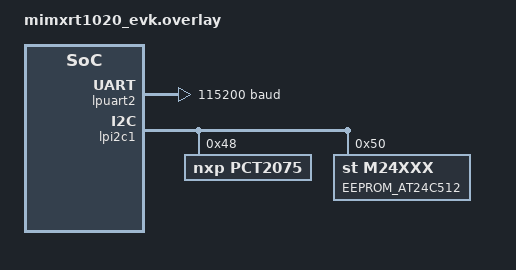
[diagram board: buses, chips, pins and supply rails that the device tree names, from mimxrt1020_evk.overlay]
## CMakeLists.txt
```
cmake_minimum_required(VERSION 3.13.1)

list(APPEND ZEPHYR_EXTRA_MODULES
  ${CMAKE_CURRENT_SOURCE_DIR}/pct2075
)

set(BOARD mimxrt1020_evk)

include_directories(
    lib/civetweb_libc_extensions/include
)

find_package(Zephyr)

project(DUTCHess)

target_sources(app PRIVATE src/main.c
                           src/led.c
                           src/relay.c
                           src/gpio.c
                           src/web.c
                           src/shell.c
                           src/fs.c
                           src/net.c
                           src/settings.c
                           src/terminal_server.c
                           src/temperature.c
                           src/tftp.c
                           src/tftp_eeprom.c
                           lib/civetweb_libc_extensions/src/libc_extensions.c)
```

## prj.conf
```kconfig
CONFIG_GPIO=y
CONFIG_CIVETWEB=y
CONFIG_JSON_LIBRARY=y
CONFIG_POSIX_API=y
CONFIG_PTHREAD_IPC=y
CONFIG_POSIX_MQUEUE=y
CONFIG_NETWORKING=y
CONFIG_NET_IPV4=y
CONFIG_NET_TCP=y
CONFIG_NET_SOCKETS=y
CONFIG_MINIMAL_LIBC_MALLOC_ARENA_SIZE=16384
CONFIG_NET_TX_STACK_SIZE=2048
CONFIG_NET_RX_STACK_SIZE=2048
CONFIG_ISR_STACK_SIZE=2048
CONFIG_MAIN_STACK_SIZE=2048
CONFIG_IDLE_STACK_SIZE=1024
CONFIG_DNS_RESOLVER=y
CONFIG_NET_LOG=y
CONFIG_NET_TCP_ISN_RFC6528=n
CONFIG_SHELL=y
CONFIG_SHELL_BACKEND_TELNET=y
CONFIG_FILE_SYSTEM_SHELL=y
CONFIG_NET_SHELL=y
CONFIG_DISK_ACCESS=y
CONFIG_FILE_SYSTEM=y
CONFIG_FAT_FILESYSTEM_ELM=y
CONFIG_LOG=y
CONFIG_SETTINGS=y
CONFIG_SETTINGS_FS=y
CONFIG_SETTINGS_FS_DIR="/SD:/settings"
CONFIG_SETTINGS_FS_FILE="/SD:/settings/config"
CONFIG_NET_SOCKETS_POLL_MAX=20
CONFIG_NET_MAX_CONN=100
CONFIG_NET_MAX_CONTEXTS=10
CONFIG_SERIAL=y
CONFIG_UART_INTERRUPT_DRIVEN=y
CONFIG_PCT2075_DRIVER=y
CONFIG_SENSOR=y
CONFIG_I2C=y
CONFIG_NET_UDP=y
CONFIG_NET_SOCKETS_POSIX_NAMES=y
CONFIG_POSIX_MAX_FDS=20
CONFIG_NET_CONNECTION_MANAGER=y
CONFIG_NET_PKT_RX_COUNT=16
CONFIG_NET_PKT_TX_COUNT=16
CONFIG_NET_BUF_RX_COUNT=64
CONFIG_NET_BUF_TX_COUNT=64
CONFIG_NET_CONTEXT_NET_PKT_POOL=y
CONFIG_EEPROM=y
CONFIG_EEPROM_AT24=y
```

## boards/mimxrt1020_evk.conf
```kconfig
CONFIG_PCT2075_DRIVER=y
CONFIG_SENSOR=y
CONFIG_I2C=y
```

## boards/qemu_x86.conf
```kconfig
# Add qemu-specific stuff here
CONFIG_FPU=y
```

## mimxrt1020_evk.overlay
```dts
/ {
    aliases {
        eeprom-0 = &eeprom0;
    };
};

&lpuart2 {
     status = "okay";
     current-speed = <115200>;
};

&lpi2c1 {
    pct2075@48 {
        compatible = "nxp,pct2075";
        reg = <0x48>;
        label = "PCT2075";
        status = "okay";
    };
    eeprom0: eeprom@50 {
        compatible = "st,m24xxx", "atmel,at24";
        reg = <0x50>;
        label = "EEPROM_AT24C512";
        size = <DT_SIZE_K(64)>;
        pagesize = <64>;
        address-width = <16>;
        timeout = <5>;
    };
};
```

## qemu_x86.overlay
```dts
/ {
    soc {
       uart2: uart@e38 {
            compatible = "ns16550";
            reg = < 0x3e8 0x100 >;
            label =                "UART_2";
            clock-frequency = < 0x1c2000 >;
            interrupts = < 0x5 IRQ_TYPE_LOWEST_EDGE_RISING 0x3 >;
            interrupt-parent = < &intc >;
            status = "okay";
            current-speed = < 0x1c200 >;
        };

       uart3: uart@2e8 {
            compatible = "ns16550";
            reg = < 0x2e8 0x100 >;
            label =                "UART_3";
            clock-frequency = < 0x1c2000 >;
            interrupts = < 0x6 IRQ_TYPE_LOWEST_EDGE_RISING 0x3 >;
            interrupt-parent = < &intc >;
            status = "okay";
            current-speed = < 0x1c200 >;
        };

    };
  };
```

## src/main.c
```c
#include "gpio.h"
#include "fs.h"
#include "led.h"
#include "net.h"
#include "relay.h"
#include "settings.h"
#include "temperature.h"
#include "terminal_server.h"
#include "tftp.h"
#include "tftp_eeprom.h"
#include "web.h"

static struct dutchess_terminal_server_cfg dut_serial_cfg[] = {
    {
        .cfg = {
            .baudrate = 115200,
            .parity = UART_CFG_PARITY_NONE,
            .stop_bits = 1,
            .data_bits = 8,
            .flow_ctrl = UART_CFG_FLOW_CTRL_NONE
        },
       .tcp_port = 21500
    },
    {
        .cfg = {
            .baudrate = 57600,
            .parity = UART_CFG_PARITY_NONE,
            .stop_bits = 1,
            .data_bits = 8,
            .flow_ctrl = UART_CFG_FLOW_CTRL_NONE
        },
        .tcp_port = 25700
    },
};

void main (void)
{
    dutchess_gpio_init();
    dutchess_fs_init();
    dutchess_led_init();
    dutchess_net_init();
    dutchess_relay_init();
    dutchess_temperature_init();
    dutchess_terminal_server_init();
    dut_start_tftpServer();
    dut_tftp_eeprom();
    dutchess_web_server_init();

    // Initialise the settings last as this will read the settings and call the
    // relevant modules.
    dutchess_settings_init();

    for (int i = 0; i < 2; i++)
    {
        dutchess_terminal_server_add(&dut_serial_cfg[i]);
    }

    while (1)
    {
        int32_t durations_ms[] = {500, 500, 500, 1000, 1000, 1000, 500, 500, 500};
        dutchess_led_blink(durations_ms, 9);
    }
}
```

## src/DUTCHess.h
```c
#ifndef DUTCHESS_H
#define DUTCHESS_H

#include <logging/log.h>

#define DUT_VERSION "1.0"

#define printIP(a) a&0xff, (a>>8)&0xff, (a>>16)&0xff, (a>>24)

#define IP(a,b,c,d) ( (d<<24) | (c<<16) | (b<<8) | a )

bool relaystate(void);
void relayon(void);
void relayoff(void);
double getTemperature(void);

typedef struct
{
	unsigned long ip;
	unsigned long gateway;
	unsigned long netmask;
	bool defaultRelayState;
	unsigned long controllerIP;
	unsigned int controllerPort;
} storeData_t;

storeData_t *getStoreData(void);
void updateStore(char *var, char *value, int valueLen);
void saveStore(void);

#define SAY(fmt, args...) printk("%s:%d: " fmt "\n", __FILE__, __LINE__, ##args)
#define _SAY(fmt, args...) 

void dut_tftp_eeprom(void);
#endif
```

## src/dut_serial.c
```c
/* -*- mode:c; indent-tabs-mode:nil; tab-width:4; c-basic-offset:4 -*- */
/*     vi: set ts=4 sw=4 expandtab:                                    */

/*@COPYRIGHT@*/

#include "DUTCHess.h"
#include "dut_serial.h"
#include <device.h>
#include <init.h>
#include <fcntl.h>
#include <net/socket.h>
#include <poll.h>

#ifndef CONFIG_UART_INTERRUPT_DRIVEN
#error "We must has interrupts"
#endif

#define TELNET_IAC   255
#define TELNET_WILL  251
#define TELNET_WONT  252
#define TELNET_DO    253
#define TELNET_DONT  254

#define DUT_CK(rt,...) do {                                     \
        int _err;                                               \
        if ((_err = dut_log_error(__FILE__, __LINE__, (rt)))) { \
            __VA_ARGS__;                                        \
        }                                                       \
    }                                                           \
    while (0)

#define DUT_NOK(er) dut_log_error(__FILE__, __LINE__, (er))

struct dut_uart;

struct dut_uart_port {
    struct dut_uart_port *next;
    struct dut_uart *uart;

    struct dut_serial_cfg cfg;
    int socket;
    int id; // Linuar unique id across all ports
};

struct dut_uart {
    struct dut_uart *next;
    
    const struct device *dev;

    struct dut_uart_port *ports; // All ports sharing this device

    int csocket; // Client socket (non-0 means uart in use)
    int id; // Linuar unique id across all uarts
};

static struct dut_uart *dut_uarts = NULL;
static int dut_ports_count = 0;
static int dut_uarts_count = 0;

static int dut_log_error (char *file_name, int line, int ret_val)
{
    if (ret_val < 0)
    {
        printk("%s:%d: Error: %d (errno %d)\n", file_name, line, ret_val, errno);
    }

    return ret_val;
}

static int dut_setblocking (int fd, bool val)
{
	int fl, res;

	fl = zsock_fcntl(fd, F_GETFL, 0);
	if (fl < 0) {
		return DUT_NOK(fl);
	}

	if (val) {
		fl &= ~O_NONBLOCK;
	} else {
		fl |= O_NONBLOCK;
	}

	res = zsock_fcntl(fd, F_SETFL, fl);
	if (res < 0) {
        return DUT_NOK(res);
    }

    return 0;
}

static void dut_uart_isr (const struct device *dev, void *user_data)
{
    (void) dev;
    struct dut_uart *uart = (struct dut_uart*) user_data;

    SAY("ISR trigger %s", uart->ports->cfg.dev_name);
    
    while (uart_irq_update(uart->dev) &&
                  uart_irq_is_pending(uart->dev))
    {
        char buf[128];
        int len;

        if (!uart_irq_rx_ready(uart->dev))
            continue;
        
		len = uart_fifo_read(uart->dev, buf, 128);

        if (len < 0)
        {
            DUT_NOK(len);
            break;
        }
        else if (len == 0)
        {
            break;
        }
        else if (uart->csocket != -1) // note this may have been closed in the mean time
        {
            
            DUT_CK(zsock_send(uart->csocket, buf, len, 0));
        }
	}
}

static int dut_serial_init (struct dut_uart_port *port)
{
    struct dut_uart *uart = port->uart;
	uart_irq_rx_disable(uart->dev);
	uart_irq_tx_disable(uart->dev);

    /* set speed etc */
    uart_configure(uart->dev, &port->cfg.cfg);
    
	uart_irq_callback_user_data_set(uart->dev, dut_uart_isr, uart);

	/* Drain the fifo */
	while (uart_irq_rx_ready(uart->dev)) {
        char c;
		uart_fifo_read(uart->dev, &c, 1);
	}

	uart_irq_rx_enable(uart->dev);

    return 0;
}

static int dut_serial_write (struct dut_uart *uart, const uint8_t *buf, size_t len)
{
    /*
    DUT_CK(uart_tx(uart->dev, buf, len, SYS_FOREVER_MS),
           return _err);
    */

    for (int i = 0; i < len; ++i)
        uart_poll_out(uart->dev, buf[i]);

    char ch;
    if (uart_poll_in(uart->dev, &ch) == 0)
        SAY("Got a char '%c' (%02x)", ch, ch);
    
    return 0;
}


// Adds the port with access point sap into the uart's list of ports (cerating
// the former if needed).
static int dut_add_port (struct dut_serial_cfg *sap)
{
    struct dut_uart *uart = NULL;
    struct dut_uart_port *port = NULL;
	struct sockaddr_in baddr = {
		.sin_family = AF_INET,
		.sin_port = htons(sap->tcp_port),
		.sin_addr = {
			.s_addr = htonl(INADDR_ANY),
		},
	};

    SAY("Serial %s speed %d port %d", sap->dev_name, sap->cfg.baudrate, sap->tcp_port);

    for (uart = dut_uarts; uart; uart = uart->next)
        if (!strcmp(uart->ports->cfg.dev_name, sap->dev_name))
        {
            break;
        }

    if (!uart)
    {
        uart = k_malloc(sizeof(struct dut_uart));

        if (!uart)
            return DUT_NOK(-ENOMEM);

        if ((uart->dev = device_get_binding(sap->dev_name)) == NULL)
        {
            k_free(uart);
            return DUT_NOK(-ENODEV);
        }

        uart->ports = NULL;
        uart->csocket = -1;

        uart->id = dut_uarts_count++;
        uart->next = dut_uarts;
        dut_uarts = uart;
    }

    port = k_malloc(sizeof(struct dut_uart_port));
    if (!port)
    {
        dut_uarts = uart->next;
        k_free(uart);
        return DUT_NOK(-ENOMEM);
    }

    port->cfg = *sap;

    port->socket = zsock_socket(AF_INET, SOCK_STREAM, IPPROTO_TCP);
    if (port->socket < 0)
    {
        k_free(port);
        return DUT_NOK(port->socket);
    }
    
    DUT_CK(zsock_bind(port->socket, (const struct sockaddr*) &baddr, sizeof(baddr)),
           {
               zsock_close(port->socket);
               k_free(port);
               return _err;
           });
    
    DUT_CK(dut_setblocking(port->socket, false),
           {
               zsock_close(port->socket);
               k_free(port);
               return _err;
           });

    port->id = dut_ports_count++;
    port->uart = uart;
    port->next = uart->ports;
    uart->ports = port;
    
    return 0;

}

int dut_serial_thread_fun (int dummy1, int dummy2, int dummy3)
{
    struct pollfd fds[dut_ports_count + dut_uarts_count], *cfds = &fds[dut_ports_count];
    struct pollfd *fp;

    (void) dummy1, (void) dummy2, (void) dummy3;

    SAY("Serial server running, %d serials x %d ports...", dut_uarts_count, dut_ports_count);

    fp = fds;
    for (struct dut_uart *uart = dut_uarts; uart; uart = uart->next)
        for (struct dut_uart_port *port = uart->ports; port; port = port->next)
        {
            DUT_CK(zsock_listen(port->socket, 5));
            fp->fd = port->socket;
            fp->events = POLLIN;
            ++fp;
        }

    SAY("Fp now %p start is %p end is %p elem is %d", fp, fds, fds + 1, sizeof(fds));
    for (; fp < &fds[dut_ports_count + dut_uarts_count]; ++fp)
    {
        SAY("Set cfd %d", fp - fds);
        fp->fd = -1;
        fp->events = POLLIN;
    }


    for (;;)
    {
        SAY("poll %d fds..", sizeof(fds) / sizeof(fds[0]));
        DUT_CK(zsock_poll(fds, dut_ports_count + dut_uarts_count, -1),
               if (_err <= 0) continue);
        SAY("end..");

        fp = fds;
        for (struct dut_uart *uart = dut_uarts; uart; uart = uart->next)
            for (struct dut_uart_port *port = uart->ports; port; port = port->next)
            {
                if (fp->revents & POLLIN)
                {
                    struct sockaddr_storage client_addr;
                    void *addr = &((struct sockaddr_in*) &client_addr)->sin_addr;
                    socklen_t client_addr_len = sizeof(client_addr);
                    char addr_str[32];

                    int client = zsock_accept(fp->fd,
                                              (struct sockaddr*) &client_addr,
                                              &client_addr_len);
                    SAY("Accept client fd %d", client);
                    if (client < 0) {
                        DUT_NOK(client);
                        continue;
                    }

                    zsock_inet_ntop(client_addr.ss_family, addr,
                                    addr_str, sizeof(addr_str));

                    SAY("New connection from %s serial %s@%d\n",
                        addr_str,
                        port->cfg.dev_name,
                        port->cfg.cfg.baudrate);

                    if (uart->csocket != -1)
                    {
                        char *msg = "Connection in use.\r\n";
                        zsock_send(client, msg, sizeof(msg), 0);
                        zsock_close(client);
                    }
                    else
                    {
                        dut_setblocking(client, false);
                        cfds[uart->id].fd = uart->csocket = client;

                        unsigned char charmode[]={255, 251, 3, 255, 251, 1, 0, 0, 0};
                        zsock_send(client, charmode, sizeof(charmode), 0);
                    }

                    DUT_CK(dut_serial_init(port));
                }

                fp++;
            }

        
        for (struct dut_uart *uart = dut_uarts; uart; uart = uart->next)
        {
            if (fp->revents & POLLIN)
            {
                char buf[1];

                SAY("Activity on fd %d", fp->fd);
                int len = zsock_recv(fp->fd, buf, sizeof(buf), 0);
                
                if (len < 0)
                {
                    DUT_NOK(len);
                }
                else if (len == 0)
                {
                    struct sockaddr_storage client_addr;
                    void *addr = &((struct sockaddr_in *)&client_addr)->sin_addr;
                    socklen_t client_addr_len = sizeof(client_addr);
                    char addr_str[32];
                    
                    zsock_getsockname(fp->fd,
                                      (struct sockaddr*) &client_addr,
                                      &client_addr_len);
                    
                    zsock_inet_ntop(client_addr.ss_family, addr,
                                    addr_str, sizeof(addr_str));
                    
                    SAY("Closing connection from %s serial %s\n",
                        addr_str,
                        uart->ports->cfg.dev_name);
                    
                    fp->fd = -1;
                    cfds[uart->id].fd = uart->csocket = -1;
                }
                else
                {
                    if (buf[0] == TELNET_IAC)
                    {
                        zsock_recv(fp->fd, buf, sizeof(buf), 0);
                    }
                    else
                    {
                        SAY("Sending %d bytes [%02x] to serial %s",
                            len,
                            buf[0], 
                            uart->ports->cfg.dev_name);
                        DUT_CK(dut_serial_write(uart, buf, len));
                    }
                }
            }

            fp++;
        }
    }
    
    return 0;
}

K_THREAD_DEFINE(dut_serial_thread, 4096, dut_serial_thread_fun,
                NULL, NULL, NULL,
                0, 0, 0);

int dut_serial_start (struct dut_serial_cfg *cfg)
{
    SAY("Starting serial server...");

    for (struct dut_serial_cfg *port = cfg; port->dev_name; ++port)
    {
        DUT_CK(dut_add_port(port));
    }

    return 0;
}
```

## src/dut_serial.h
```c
/* -*- mode:c; indent-tabs-mode:nil; tab-width:4; c-basic-offset:4 -*- */
/*     vi: set ts=4 sw=4 expandtab:                                    */

/*@COPYRIGHT@*/

#ifndef __SERIAL_H__
#define __SERIAL_H__

#include <drivers/uart.h>

#define DUT_SERIAL_PORT_BASE 20000

struct dut_serial_cfg {
    char              *dev_name;
    struct uart_config cfg;
    int                tcp_port;
};

#define DUT_SERIAL_LAST {NULL}

int dut_serial_start (struct dut_serial_cfg *cfg);

#endif /* __SERIAL_H__ */
```

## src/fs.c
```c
#include <storage/disk_access.h>
#include <fs/fs.h>
#include <ff.h>
#include <logging/log.h>

#include "fs.h"

LOG_MODULE_REGISTER(dutchess_fs);

static FATFS fat_fs;

static struct fs_mount_t mp = {
    .type = FS_FATFS,
    .fs_data = &fat_fs,
};

static const char *disk_mount_pt = "/SD:";

void dutchess_fs_init ()
{
    static const char *disk_pdrv = "SD";
    uint64_t memory_size_mb;
    uint32_t block_count;
    uint32_t block_size;

    if (disk_access_init(disk_pdrv) != 0)
    {
        LOG_ERR("Storage init ERROR!");
        return;
    }

    if (disk_access_ioctl(disk_pdrv, DISK_IOCTL_GET_SECTOR_COUNT, &block_count))
    {
        LOG_ERR("Unable to get sector count");
        return;
    }

    LOG_INF("Block count %u", block_count);

    if (disk_access_ioctl(disk_pdrv, DISK_IOCTL_GET_SECTOR_SIZE, &block_size))
    {
        LOG_ERR("Unable to get sector size");
        return;
    }

    LOG_INF("Sector size %u\n", block_size);

    memory_size_mb = (uint64_t)block_count * block_size;

    LOG_INF("Memory Size(MB) %u\n", (uint32_t)(memory_size_mb >> 20));

    mp.mnt_point = disk_mount_pt;

    if (fs_mount(&mp) == FR_OK)
    {
        LOG_INF("Disk mounted.\n");
    }
    else
    {
        LOG_ERR("Error mounting disk.\n");
    }
}
```

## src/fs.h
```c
#ifndef __DUTCHESS_FS_H__
#define __DUTCHESS_FS_H__

void dutchess_fs_init ();

#endif // __DUTCHESS_FS_H__
```

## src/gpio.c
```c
#include <stdio.h>
#include <drivers/gpio.h>

#include "gpio.h"

static const struct device *dev = NULL;

void dutchess_gpio_init ()
{
#ifdef CONFIG_BOARD_MIMXRT1020_EVK
    dev = device_get_binding("GPIO_1");
#endif
}

void dutchess_gpio_configure (int pin)
{
#ifdef CONFIG_BOARD_MIMXRT1020_EVK
    gpio_pin_configure(dev, pin, GPIO_OUTPUT_ACTIVE);
#endif
}

void dutchess_gpio_set (int pin, int value)
{
#ifdef CONFIG_BOARD_MIMXRT1020_EVK
    gpio_pin_set(dev, pin, value);
#endif
}

int dutchess_gpio_get (int pin)
{
    int value = 0;
#ifdef CONFIG_BOARD_MIMXRT1020_EVK
    value = gpio_pin_get(dev, pin);
#endif
    return value;
}
```

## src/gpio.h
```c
#ifndef __DUTCHESS_GPIO_H__
#define __DUTCHESS_GPIO_H__

void dutchess_gpio_init ();
void dutchess_gpio_configure (int pin);
void dutchess_gpio_set (int pin, int value);
int dutchess_gpio_get (int pin);

#endif // __DUTCHESS_GPIO_H__
```

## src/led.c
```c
#include <drivers/gpio.h>

#include "gpio.h"
#include "led.h"

#define BLINK_INTERVAL_MS 500

#define PIN 5

void dutchess_led_init ()
{
    dutchess_gpio_configure(PIN);
}

void dutchess_led_blink (int32_t *durations_ms, int32_t blinks)
{
    // Blink the LED for the specified durations and number of blinks.
    for (int i = 0; i < blinks; i++)
    {
        // LED is active low, so pull the GPIO low for the duration.
        dutchess_gpio_set(PIN, 0);
        k_msleep(durations_ms[i]);

        // Turn the LED off for the interval.
        dutchess_gpio_set(PIN, 1);
        k_msleep(BLINK_INTERVAL_MS);
    }

    // Sleep afterwards so that it is easy to distinguish between different
    // sequences.
    k_msleep(BLINK_INTERVAL_MS * 4);
}
```

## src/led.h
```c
#ifndef __DUTCHESS_LED_H__
#define __DUTCHESS_LED_H__

#include <stdint.h>

void dutchess_led_init ();
void dutchess_led_blink (int32_t *durations_ms, int32_t blinks);

#endif // __DUTCHESS_LED_H__
```

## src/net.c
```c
#include <net/net_if.h>
#include <settings/settings.h>

#include "net.h"

struct net_if *iface = NULL;

static struct in_addr address;

int network_settings_set (const char *name,
                          size_t len,
                          settings_read_cb read_cb,
                          void *cb_arg)
{
    const char *next;
    size_t name_len;
    struct in_addr addr;

    name_len = settings_name_next(name, &next);

    if (!next)
    {
        if (!strncmp(name, "address", name_len))
        {
            read_cb(cb_arg, &addr, sizeof(addr));
            dutchess_net_address_set(addr);
            return 0;
        }
        else if (!strncmp(name, "netmask", name_len))
        {
            read_cb(cb_arg, &addr, sizeof(addr));
            dutchess_net_netmask_set(addr);
            return 0;
        }
        else if (!strncmp(name, "gateway", name_len))
        {
            read_cb(cb_arg, &addr, sizeof(addr));
            dutchess_net_gateway_set(addr);
            return 0;
        }
    }

    return -ENOENT;
}

SETTINGS_STATIC_HANDLER_DEFINE(network,
                               "network",
                               NULL,
                               network_settings_set,
                               NULL,
                               NULL);

void dutchess_net_init ()
{
    iface = net_if_get_default();
}

void dutchess_net_address_set (struct in_addr new_address)
{
    if (iface)
    {
        if (address.s_addr != 0)
        {
            net_if_ipv4_addr_rm(iface, &address);
        }

        net_if_ipv4_addr_add(iface, &new_address, NET_ADDR_MANUAL, 0);
        memcpy(&address, &new_address, sizeof(address));
        settings_save_one("network/address", &address, sizeof(address));
    }
}

void dutchess_net_netmask_set (struct in_addr netmask)
{
    if (iface)
    {
        net_if_ipv4_set_netmask(iface, &netmask);
        settings_save_one("network/netmask", &netmask, sizeof(netmask));
    }
}

void dutchess_net_gateway_set (struct in_addr gateway)
{
    if (iface)
    {
        net_if_ipv4_set_gw(iface, &gateway);
        settings_save_one("network/gateway", &gateway, sizeof(gateway));
    }
}
```

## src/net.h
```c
#ifndef __DUTCHESS_NET_H__
#define __DUTCHESS_NET_H__

#include <net/net_ip.h>

void dutchess_net_init ();
void dutchess_net_address_set (struct in_addr address);
void dutchess_net_netmask_set (struct in_addr netmask);
void dutchess_net_gateway_set (struct in_addr gateway);

#endif // __DUTCHESS_NET_H__
```

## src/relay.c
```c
#include <stdio.h>
#include <drivers/gpio.h>

#include "gpio.h"
#include "relay.h"

#define PIN 22 // D7 on the Arduino header.

void dutchess_relay_init ()
{
    dutchess_gpio_configure(PIN);
}

void dutchess_relay_set (int value)
{
    // Relay is active low so invert the value here to abstract that.
    dutchess_gpio_set(PIN, !value);
}

int dutchess_relay_state ()
{
    // As with the function above, need to invert the value so the rest of the
    // application doesn't have to care that this device is active low.
    return !dutchess_gpio_get(PIN);
}
```
